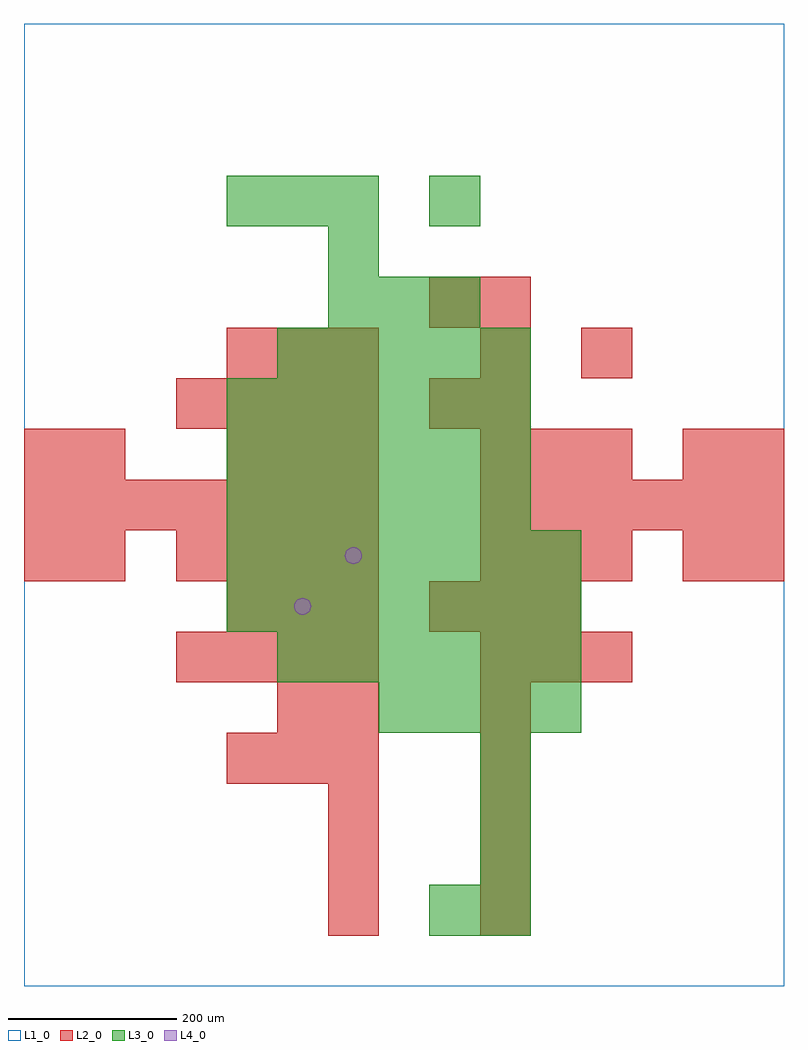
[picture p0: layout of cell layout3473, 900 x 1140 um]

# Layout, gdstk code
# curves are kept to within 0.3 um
import gdstk
lib = gdstk.Library(unit=1e-6, precision=1e-09)
def R(c, l, rs):  # rectangles x0, y0, x1, y1
    for r in rs: c.add(gdstk.rectangle(r[:2], r[2:], *l))
def A(c, l, x, y, w, h, nx, ny, dx, dy):  # array of equal rectangles
    R(c, l, [(x+i*dx, y+j*dy, x+i*dx+w, y+j*dy+h) for i in range(nx) for j in range(ny)])
def P(c, l, *ps):  # polygons
    for p in ps: c.add(gdstk.Polygon(p, *l))
L1_0 = (1, 0)
L2_0 = (2, 0)
L3_0 = (3, 0)
L4_0 = (4, 0)

layout3473 = lib.new_cell('layout3473')
R(layout3473, L1_0, [(0,0,900,1140)])
A(layout3473, L2_0, 360, 60, 60, 60, 1, 3, 0, 60)
A(layout3473, L2_0, 540, 60, 60, 60, 1, 5, 0, 60)
A(layout3473, L2_0, 240, 240, 60, 60, 3, 3, 60, 180)
A(layout3473, L2_0, 180, 360, 60, 60, 4, 2, 60, 120)
A(layout3473, L2_0, 540, 360, 60, 60, 3, 3, 60, 120)
A(layout3473, L2_0, 480, 420, 60, 60, 3, 1, 60, 0)
A(layout3473, L2_0, 0, 540, 60, 60, 7, 1, 60, 0)
A(layout3473, L2_0, 540, 540, 60, 60, 6, 1, 60, 0)
A(layout3473, L2_0, 180, 660, 60, 60, 4, 1, 60, 0)
A(layout3473, L2_0, 540, 660, 60, 60, 1, 3, 0, 60)
A(layout3473, L2_0, 240, 720, 60, 60, 3, 1, 60, 0)
R(layout3473, L2_0, [(300,300,360,360), (360,300,420,360), (0,480,60,540), (60,480,120,540), (780,480,840,540), (840,480,900,540), (0,600,60,660), (60,600,120,660), (780,600,840,660), (840,600,900,660), (480,660,540,720), (660,720,720,780), (480,780,540,840)])
A(layout3473, L3_0, 540, 60, 60, 60, 1, 4, 0, 60)
A(layout3473, L3_0, 420, 300, 60, 60, 4, 1, 60, 0)
A(layout3473, L3_0, 300, 360, 60, 60, 6, 1, 60, 0)
A(layout3473, L3_0, 240, 420, 60, 60, 7, 2, 60, 60)
A(layout3473, L3_0, 240, 540, 60, 60, 6, 3, 60, 60)
A(layout3473, L3_0, 300, 720, 60, 60, 5, 1, 60, 0)
A(layout3473, L3_0, 360, 780, 60, 60, 3, 1, 60, 0)
A(layout3473, L3_0, 240, 900, 60, 60, 3, 1, 60, 0)
R(layout3473, L3_0, [(480,60,540,120), (360,840,420,900), (480,900,540,960)])
P(layout3473, L4_0, [(340,450),(339.239,453.827),(337.071,457.071),(333.827,459.239),(330,460),(326.173,459.239),(322.929,457.071),(320.761,453.827),(320,450),(320.761,446.173),(322.929,442.929),(326.173,440.761),(330,440),(333.827,440.761),(337.071,442.929),(339.239,446.173)],
  [(400,510),(399.239,513.827),(397.071,517.071),(393.827,519.239),(390,520),(386.173,519.239),(382.929,517.071),(380.761,513.827),(380,510),(380.761,506.173),(382.929,502.929),(386.173,500.761),(390,500),(393.827,500.761),(397.071,502.929),(399.239,506.173)])

lib.write_gds('layout3473.gds')
